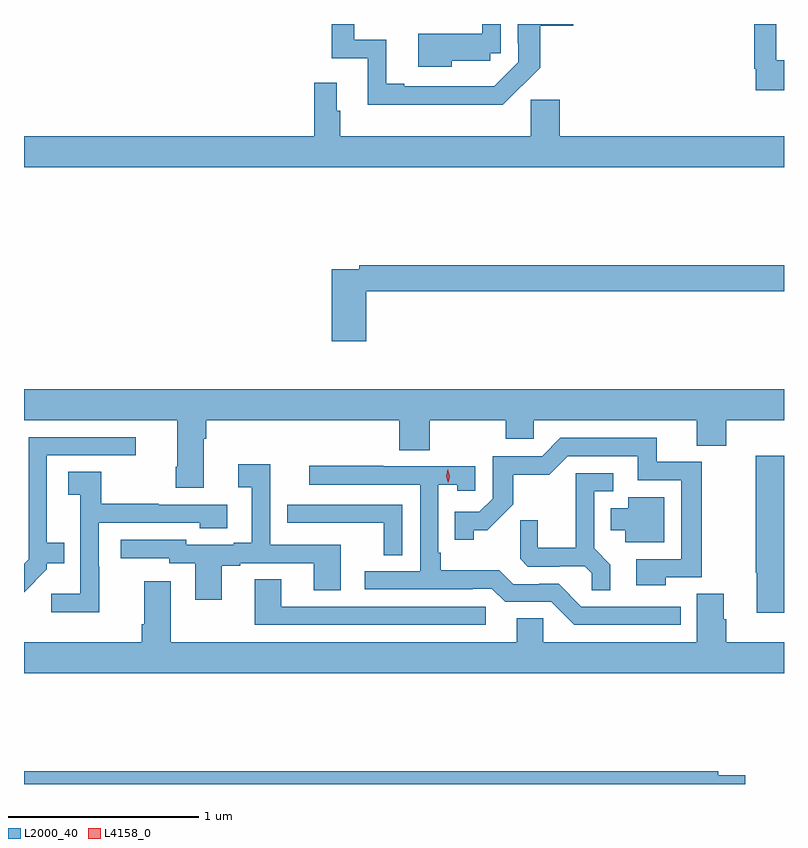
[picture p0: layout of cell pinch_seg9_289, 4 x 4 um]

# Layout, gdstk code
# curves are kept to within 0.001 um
import gdstk
lib = gdstk.Library(unit=1e-6, precision=1e-09)
def P(c, l, *ps):  # polygons
    for p in ps: c.add(gdstk.Polygon(p, *l))
L2000_40 = (2000, 40)
L4158_0 = (4158, 0)

pinch_seg9_289 = lib.new_cell('pinch_seg9_289')
P(pinch_seg9_289, L2000_40, [(445.213,1194.318),(445.173,1194.318),(445.173,1194.51),(445.057,1194.51),(445.057,1194.274),(445.065,1194.274),(445.065,1194.162),(445.213,1194.162)],
  [(443.464,1194.317),(443.667,1194.317),(443.667,1194.357),(443.721,1194.357),(443.721,1194.51),(443.625,1194.51),(443.625,1194.46),(443.288,1194.46),(443.288,1194.284),(443.464,1194.284)],
  [(443.93,1194.281),(443.93,1194.5),(444.104,1194.5),(444.104,1194.51),(443.811,1194.51),(443.811,1194.409),(443.814,1194.409),(443.814,1194.309),(443.687,1194.182),(443.215,1194.183),(443.215,1194.196),(443.119,1194.196),(443.119,1194.426),(442.95,1194.426),(442.95,1194.51),(442.834,1194.51),(442.834,1194.33),(443.021,1194.33),(443.021,1194.086),(443.533,1194.086),(443.533,1194.084),(443.732,1194.084)],
  [(445.213,1193.92),(444.032,1193.92),(444.032,1194.111),(443.881,1194.111),(443.881,1193.92),(442.877,1193.92),(442.877,1194.053),(442.858,1194.053),(442.858,1194.202),(442.741,1194.202),(442.741,1193.92),(441.213,1193.92),(441.213,1193.756),(445.213,1193.756)],
  [(443.015,1193.104),(445.213,1193.104),(445.213,1193.24),(442.978,1193.24),(442.978,1193.22),(442.832,1193.22),(442.832,1192.839),(443.015,1192.839)],
  [(442.159,1192.328),(442.172,1192.328),(442.172,1192.424),(443.189,1192.424),(443.189,1192.267),(443.349,1192.267),(443.349,1192.424),(443.749,1192.424),(443.749,1192.326),(443.895,1192.326),(443.895,1192.424),(444.755,1192.424),(444.755,1192.291),(444.908,1192.291),(444.908,1192.424),(445.213,1192.424),(445.213,1192.588),(441.213,1192.588),(441.213,1192.424),(442.019,1192.424),(442.019,1192.18),(442.012,1192.18),(442.012,1192.068),(442.159,1192.068)],
  [(441.333,1191.639),(441.333,1191.671),(441.425,1191.671),(441.425,1191.781),(441.334,1191.781),(441.334,1192.239),(441.802,1192.239),(441.802,1192.335),(441.237,1192.335),(441.237,1191.693),(441.213,1191.669),(441.213,1191.519)],
  [(444.591,1191.597),(444.781,1191.597),(444.781,1192.206),(444.542,1192.206),(444.542,1192.332),(444.036,1192.332),(443.94,1192.236),(443.679,1192.236),(443.679,1192.011),(443.61,1191.942),(443.479,1191.942),(443.479,1191.795),(443.58,1191.795),(443.58,1191.845),(443.65,1191.845),(443.788,1191.982),(443.788,1192.138),(443.977,1192.138),(444.075,1192.236),(444.443,1192.236),(444.443,1192.11),(444.672,1192.11),(444.672,1191.693),(444.435,1191.693),(444.435,1191.557),(444.591,1191.557)],
  [(445.213,1192.237),(445.063,1192.237),(445.063,1191.623),(445.07,1191.623),(445.07,1191.411),(445.213,1191.411)],
  [(442.255,1191.66),(442.351,1191.66),(442.351,1191.672),(442.739,1191.672),(442.739,1191.529),(442.879,1191.529),(442.879,1191.768),(442.509,1191.768),(442.509,1192.192),(442.341,1192.192),(442.341,1192.072),(442.412,1192.072),(442.412,1191.781),(442.316,1191.781),(442.316,1191.768),(442.068,1191.768),(442.068,1191.795),(441.723,1191.795),(441.723,1191.699),(441.978,1191.699),(441.978,1191.672),(442.115,1191.672),(442.115,1191.48),(442.255,1191.48)],
  [(444.67,1191.444),(444.147,1191.444),(444.027,1191.564),(443.926,1191.564),(443.926,1191.561),(443.787,1191.561),(443.714,1191.634),(443.407,1191.634),(443.407,1191.727),(443.394,1191.727),(443.394,1192.085),(443.493,1192.085),(443.493,1192.053),(443.589,1192.053),(443.589,1192.182),(443.105,1192.182),(443.105,1192.185),(442.713,1192.185),(442.713,1192.086),(443.298,1192.086),(443.298,1191.63),(443.007,1191.63),(443.007,1191.534),(443.576,1191.534),(443.576,1191.537),(443.676,1191.537),(443.745,1191.468),(443.988,1191.468),(444.108,1191.348),(444.67,1191.348)],
  [(441.609,1191.653),(441.606,1191.653),(441.606,1191.885),(442.137,1191.885),(442.137,1191.857),(442.282,1191.857),(442.282,1191.981),(441.923,1191.981),(441.923,1191.984),(441.619,1191.984),(441.619,1192.154),(441.447,1192.154),(441.447,1192.033),(441.51,1192.033),(441.51,1191.511),(441.357,1191.511),(441.357,1191.413),(441.609,1191.413)],
  [(444.299,1191.665),(444.213,1191.751),(444.213,1192.05),(444.313,1192.05),(444.313,1192.146),(444.116,1192.146),(444.116,1191.754),(443.918,1191.754),(443.918,1191.897),(443.824,1191.897),(443.824,1191.695),(443.865,1191.654),(444.03,1191.654),(444.03,1191.657),(444.164,1191.657),(444.201,1191.62),(444.201,1191.529),(444.299,1191.529)],
  [(444.583,1192.018),(444.392,1192.018),(444.392,1191.961),(444.302,1191.961),(444.302,1191.845),(444.377,1191.845),(444.377,1191.782),(444.583,1191.782)],
  [(443.205,1191.981),(442.599,1191.981),(442.599,1191.886),(442.711,1191.886),(442.711,1191.885),(443.107,1191.885),(443.107,1191.715),(443.205,1191.715)],
  [(443.644,1191.444),(442.567,1191.444),(442.567,1191.587),(442.427,1191.587),(442.427,1191.348),(443.644,1191.348)],
  [(445.213,1191.256),(444.908,1191.256),(444.908,1191.378),(444.895,1191.378),(444.895,1191.512),(444.755,1191.512),(444.755,1191.256),(443.946,1191.256),(443.946,1191.383),(443.807,1191.383),(443.807,1191.256),(441.985,1191.256),(441.985,1191.577),(441.845,1191.577),(441.845,1191.352),(441.833,1191.352),(441.833,1191.256),(441.213,1191.256),(441.213,1191.092),(445.213,1191.092)],
  [(445.008,1190.556),(444.866,1190.556),(444.866,1190.576),(441.213,1190.576),(441.213,1190.51),(445.008,1190.51)])
P(pinch_seg9_289, L4158_0, [(443.446,1192.095),(443.446,1192.095),(443.435,1192.13),(443.443,1192.167),(443.444,1192.167),(443.444,1192.167),(443.455,1192.131),(443.446,1192.095)])

lib.write_gds('pinch_seg9_289.gds')
